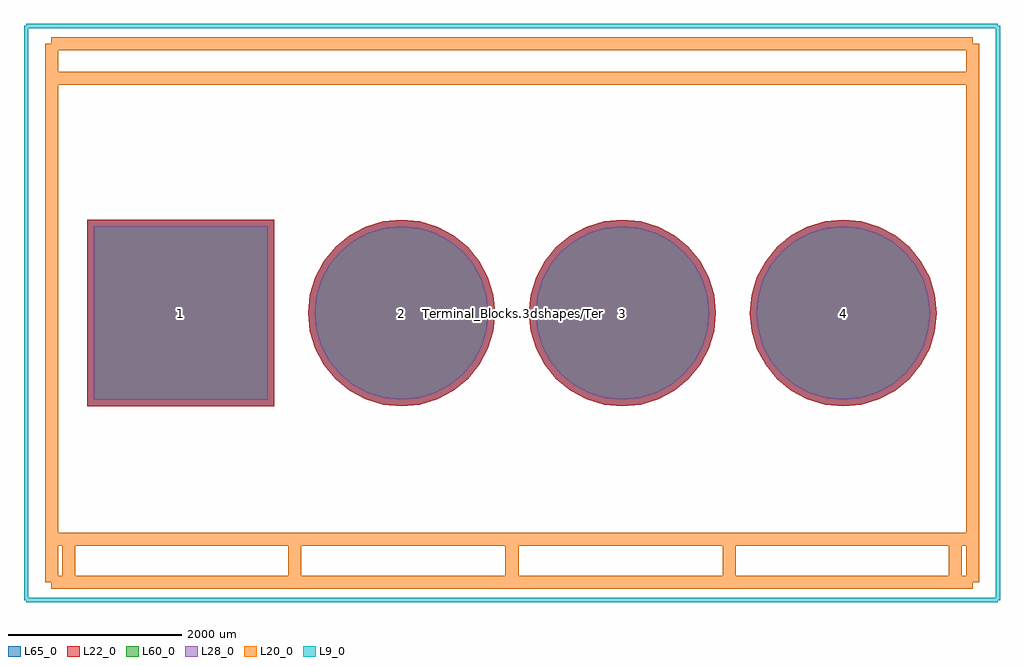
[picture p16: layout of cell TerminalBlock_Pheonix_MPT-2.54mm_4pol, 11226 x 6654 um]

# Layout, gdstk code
import gdstk
lib = gdstk.Library(unit=1e-6, precision=1e-09)
def R(c, l, rs):  # rectangles x0, y0, x1, y1
    for r in rs: c.add(gdstk.rectangle(r[:2], r[2:], *l))
def P(c, l, *ps):  # polygons
    for p in ps: c.add(gdstk.Polygon(p, *l))
L9_0 = (9, 0)
L20_0 = (20, 0)
L22_0 = (22, 0)
L28_0 = (28, 0)
L60_0 = (60, 0)
L65_0 = (65, 0)

terminalblock_pheonix_mp = lib.new_cell('TerminalBlock_Pheonix_MPT-2.54mm_4pol')
R(terminalblock_pheonix_mp, L22_0, [(-1074.49,-1074.49,1074.49,1074.49)])
P(terminalblock_pheonix_mp, L22_0, [(6154.49,0),(6133.844,209.623),(6072.699,411.19),(5973.406,596.955),(5839.779,759.779),(5676.955,893.406),(5491.19,992.699),(5289.623,1053.844),(5080,1074.49),(4870.377,1053.844),(4668.81,992.699),(4483.045,893.406),(4320.221,759.779),(4186.594,596.955),(4087.301,411.19),(4026.156,209.623),(4005.51,0),(4026.156,-209.623),(4087.301,-411.19),(4186.594,-596.955),(4320.221,-759.779),(4483.045,-893.406),(4668.81,-992.699),(4870.377,-1053.844),(5080,-1074.49),(5289.623,-1053.844),(5491.19,-992.699),(5676.955,-893.406),(5839.779,-759.779),(5973.406,-596.955),(6072.699,-411.19),(6133.844,-209.623)],
  [(3614.49,0),(3593.844,209.623),(3532.699,411.19),(3433.406,596.955),(3299.779,759.779),(3136.955,893.406),(2951.19,992.699),(2749.623,1053.844),(2540,1074.49),(2330.377,1053.844),(2128.81,992.699),(1943.045,893.406),(1780.221,759.779),(1646.594,596.955),(1547.301,411.19),(1486.156,209.623),(1465.51,0),(1486.156,-209.623),(1547.301,-411.19),(1646.594,-596.955),(1780.221,-759.779),(1943.045,-893.406),(2128.81,-992.699),(2330.377,-1053.844),(2540,-1074.49),(2749.623,-1053.844),(2951.19,-992.699),(3136.955,-893.406),(3299.779,-759.779),(3433.406,-596.955),(3532.699,-411.19),(3593.844,-209.623)],
  [(8694.49,0),(8673.844,209.623),(8612.699,411.19),(8513.406,596.955),(8379.779,759.779),(8216.955,893.406),(8031.19,992.699),(7829.623,1053.844),(7620,1074.49),(7410.377,1053.844),(7208.81,992.699),(7023.045,893.406),(6860.221,759.779),(6726.594,596.955),(6627.301,411.19),(6566.156,209.623),(6545.51,0),(6566.156,-209.623),(6627.301,-411.19),(6726.594,-596.955),(6860.221,-759.779),(7023.045,-893.406),(7208.81,-992.699),(7410.377,-1053.844),(7620,-1074.49),(7829.623,-1053.844),(8031.19,-992.699),(8216.955,-893.406),(8379.779,-759.779),(8513.406,-596.955),(8612.699,-411.19),(8673.844,-209.623)])
R(terminalblock_pheonix_mp, L28_0, [(-999.49,-999.49,999.49,999.49)])
P(terminalblock_pheonix_mp, L28_0, [(6079.49,0),(6060.285,194.991),(6003.408,382.488),(5911.046,555.287),(5786.746,706.746),(5635.287,831.046),(5462.488,923.408),(5274.991,980.285),(5080,999.49),(4885.009,980.285),(4697.512,923.408),(4524.713,831.046),(4373.254,706.746),(4248.954,555.287),(4156.592,382.488),(4099.715,194.991),(4080.51,0),(4099.715,-194.991),(4156.592,-382.488),(4248.954,-555.287),(4373.254,-706.746),(4524.713,-831.046),(4697.512,-923.408),(4885.009,-980.285),(5080,-999.49),(5274.991,-980.285),(5462.488,-923.408),(5635.287,-831.046),(5786.746,-706.746),(5911.046,-555.287),(6003.408,-382.488),(6060.285,-194.991)],
  [(3539.49,0),(3520.285,194.991),(3463.408,382.488),(3371.046,555.287),(3246.746,706.746),(3095.287,831.046),(2922.488,923.408),(2734.991,980.285),(2540,999.49),(2345.009,980.285),(2157.512,923.408),(1984.713,831.046),(1833.254,706.746),(1708.954,555.287),(1616.592,382.488),(1559.715,194.991),(1540.51,0),(1559.715,-194.991),(1616.592,-382.488),(1708.954,-555.287),(1833.254,-706.746),(1984.713,-831.046),(2157.512,-923.408),(2345.009,-980.285),(2540,-999.49),(2734.991,-980.285),(2922.488,-923.408),(3095.287,-831.046),(3246.746,-706.746),(3371.046,-555.287),(3463.408,-382.488),(3520.285,-194.991)],
  [(8619.49,0),(8600.285,194.991),(8543.408,382.488),(8451.046,555.287),(8326.746,706.746),(8175.287,831.046),(8002.488,923.408),(7814.991,980.285),(7620,999.49),(7425.009,980.285),(7237.512,923.408),(7064.713,831.046),(6913.254,706.746),(6788.954,555.287),(6696.592,382.488),(6639.715,194.991),(6620.51,0),(6639.715,-194.991),(6696.592,-382.488),(6788.954,-555.287),(6913.254,-706.746),(7064.713,-831.046),(7237.512,-923.408),(7425.009,-980.285),(7620,-999.49),(7814.991,-980.285),(8002.488,-923.408),(8175.287,-831.046),(8326.746,-706.746),(8451.046,-555.287),(8543.408,-382.488),(8600.285,-194.991)])
R(terminalblock_pheonix_mp, L60_0, [(-999.49,-999.49,999.49,999.49)])
P(terminalblock_pheonix_mp, L60_0, [(6079.49,0),(6060.285,194.991),(6003.408,382.488),(5911.046,555.287),(5786.746,706.746),(5635.287,831.046),(5462.488,923.408),(5274.991,980.285),(5080,999.49),(4885.009,980.285),(4697.512,923.408),(4524.713,831.046),(4373.254,706.746),(4248.954,555.287),(4156.592,382.488),(4099.715,194.991),(4080.51,0),(4099.715,-194.991),(4156.592,-382.488),(4248.954,-555.287),(4373.254,-706.746),(4524.713,-831.046),(4697.512,-923.408),(4885.009,-980.285),(5080,-999.49),(5274.991,-980.285),(5462.488,-923.408),(5635.287,-831.046),(5786.746,-706.746),(5911.046,-555.287),(6003.408,-382.488),(6060.285,-194.991)],
  [(3539.49,0),(3520.285,194.991),(3463.408,382.488),(3371.046,555.287),(3246.746,706.746),(3095.287,831.046),(2922.488,923.408),(2734.991,980.285),(2540,999.49),(2345.009,980.285),(2157.512,923.408),(1984.713,831.046),(1833.254,706.746),(1708.954,555.287),(1616.592,382.488),(1559.715,194.991),(1540.51,0),(1559.715,-194.991),(1616.592,-382.488),(1708.954,-555.287),(1833.254,-706.746),(1984.713,-831.046),(2157.512,-923.408),(2345.009,-980.285),(2540,-999.49),(2734.991,-980.285),(2922.488,-923.408),(3095.287,-831.046),(3246.746,-706.746),(3371.046,-555.287),(3463.408,-382.488),(3520.285,-194.991)],
  [(8619.49,0),(8600.285,194.991),(8543.408,382.488),(8451.046,555.287),(8326.746,706.746),(8175.287,831.046),(8002.488,923.408),(7814.991,980.285),(7620,999.49),(7425.009,980.285),(7237.512,923.408),(7064.713,831.046),(6913.254,706.746),(6788.954,555.287),(6696.592,382.488),(6639.715,194.991),(6620.51,0),(6639.715,-194.991),(6696.592,-382.488),(6788.954,-555.287),(6913.254,-706.746),(7064.713,-831.046),(7237.512,-923.408),(7425.009,-980.285),(7620,-999.49),(7814.991,-980.285),(8002.488,-923.408),(8175.287,-831.046),(8326.746,-706.746),(8451.046,-555.287),(8543.408,-382.488),(8600.285,-194.991)])
R(terminalblock_pheonix_mp, L65_0, [(-1074.49,-1074.49,1074.49,1074.49)])
P(terminalblock_pheonix_mp, L65_0, [(6154.49,0),(6133.844,209.623),(6072.699,411.19),(5973.406,596.955),(5839.779,759.779),(5676.955,893.406),(5491.19,992.699),(5289.623,1053.844),(5080,1074.49),(4870.377,1053.844),(4668.81,992.699),(4483.045,893.406),(4320.221,759.779),(4186.594,596.955),(4087.301,411.19),(4026.156,209.623),(4005.51,0),(4026.156,-209.623),(4087.301,-411.19),(4186.594,-596.955),(4320.221,-759.779),(4483.045,-893.406),(4668.81,-992.699),(4870.377,-1053.844),(5080,-1074.49),(5289.623,-1053.844),(5491.19,-992.699),(5676.955,-893.406),(5839.779,-759.779),(5973.406,-596.955),(6072.699,-411.19),(6133.844,-209.623)],
  [(3614.49,0),(3593.844,209.623),(3532.699,411.19),(3433.406,596.955),(3299.779,759.779),(3136.955,893.406),(2951.19,992.699),(2749.623,1053.844),(2540,1074.49),(2330.377,1053.844),(2128.81,992.699),(1943.045,893.406),(1780.221,759.779),(1646.594,596.955),(1547.301,411.19),(1486.156,209.623),(1465.51,0),(1486.156,-209.623),(1547.301,-411.19),(1646.594,-596.955),(1780.221,-759.779),(1943.045,-893.406),(2128.81,-992.699),(2330.377,-1053.844),(2540,-1074.49),(2749.623,-1053.844),(2951.19,-992.699),(3136.955,-893.406),(3299.779,-759.779),(3433.406,-596.955),(3532.699,-411.19),(3593.844,-209.623)],
  [(8694.49,0),(8673.844,209.623),(8612.699,411.19),(8513.406,596.955),(8379.779,759.779),(8216.955,893.406),(8031.19,992.699),(7829.623,1053.844),(7620,1074.49),(7410.377,1053.844),(7208.81,992.699),(7023.045,893.406),(6860.221,759.779),(6726.594,596.955),(6627.301,411.19),(6566.156,209.623),(6545.51,0),(6566.156,-209.623),(6627.301,-411.19),(6726.594,-596.955),(6860.221,-759.779),(7023.045,-893.406),(7208.81,-992.699),(7410.377,-1053.844),(7620,-1074.49),(7829.623,-1053.844),(8031.19,-992.699),(8216.955,-893.406),(8379.779,-759.779),(8513.406,-596.955),(8612.699,-411.19),(8673.844,-209.623)])
terminalblock_pheonix_mp.add(gdstk.FlexPath([(-1485.9,3098.8),(-1485.9,-3098.8)], 149.998, ends="flush", simple_path=True, layer=20, datatype=0))  # L20_0
terminalblock_pheonix_mp.add(gdstk.FlexPath([(9108.44,-3098.8),(9108.44,3098.8)], 149.998, ends="flush", simple_path=True, layer=20, datatype=0))  # L20_0
terminalblock_pheonix_mp.add(gdstk.FlexPath([(1313.18,-3098.8),(1313.18,-2600.96)], 149.998, ends="flush", simple_path=True, layer=20, datatype=0))  # L20_0
terminalblock_pheonix_mp.add(gdstk.FlexPath([(8910.32,-2600.96),(8910.32,-3098.8)], 149.998, ends="flush", simple_path=True, layer=20, datatype=0))  # L20_0
terminalblock_pheonix_mp.add(gdstk.FlexPath([(-1287.78,-3098.8),(-1287.78,-2600.96)], 149.998, ends="flush", simple_path=True, layer=20, datatype=0))  # L20_0
terminalblock_pheonix_mp.add(gdstk.FlexPath([(3810,-2600.96),(3810,-3098.8)], 149.998, ends="flush", simple_path=True, layer=20, datatype=0))  # L20_0
terminalblock_pheonix_mp.add(gdstk.FlexPath([(6306.82,-2600.96),(6306.82,-3098.8)], 149.998, ends="flush", simple_path=True, layer=20, datatype=0))  # L20_0
terminalblock_pheonix_mp.add(gdstk.FlexPath([(9110.98,-3098.8),(-1490.98,-3098.8)], 149.998, ends="flush", simple_path=True, layer=20, datatype=0))  # L20_0
terminalblock_pheonix_mp.add(gdstk.FlexPath([(-1490.98,-2600.96),(9110.98,-2600.96)], 149.998, ends="flush", simple_path=True, layer=20, datatype=0))  # L20_0
terminalblock_pheonix_mp.add(gdstk.FlexPath([(-1490.98,2700.02),(9110.98,2700.02)], 149.998, ends="flush", simple_path=True, layer=20, datatype=0))  # L20_0
terminalblock_pheonix_mp.add(gdstk.FlexPath([(9110.98,3098.8),(-1490.98,3098.8)], 149.998, ends="flush", simple_path=True, layer=20, datatype=0))  # L20_0
terminalblock_pheonix_mp.add(gdstk.FlexPath([(9398,3302),(9398,-3302)], 50, ends="flush", simple_path=True, layer=9, datatype=0))  # L9_0
terminalblock_pheonix_mp.add(gdstk.FlexPath([(9398,-3302),(-1778,-3302)], 50, ends="flush", simple_path=True, layer=9, datatype=0))  # L9_0
terminalblock_pheonix_mp.add(gdstk.FlexPath([(-1778,-3302),(-1778,3302)], 50, ends="flush", simple_path=True, layer=9, datatype=0))  # L9_0
terminalblock_pheonix_mp.add(gdstk.FlexPath([(-1778,3302),(9398,3302)], 50, ends="flush", simple_path=True, layer=9, datatype=0))  # L9_0
terminalblock_pheonix_mp.add(gdstk.Label('Terminal_Blocks.3dshapes/TerminalBlock_Pheonix_MPT-2.54mm_4pol.wrl', (3810,0), layer=12, texttype=0))
terminalblock_pheonix_mp.add(gdstk.Label('3', (5080,0), layer=28, texttype=0))
terminalblock_pheonix_mp.add(gdstk.Label('2', (2540,0), layer=28, texttype=0))
terminalblock_pheonix_mp.add(gdstk.Label('1', (0,0), layer=28, texttype=0))
terminalblock_pheonix_mp.add(gdstk.Label('4', (7620,0), layer=28, texttype=0))
terminalblock_pheonix_mp.add(gdstk.Label('type', (3810,-4500.88), layer=9, texttype=0))
terminalblock_pheonix_mp.add(gdstk.Label('devicename', (3810,4500.88), layer=9, texttype=0))

lib.write_gds('TerminalBlock_Pheonix_MPT-2.54mm_4pol.gds')
